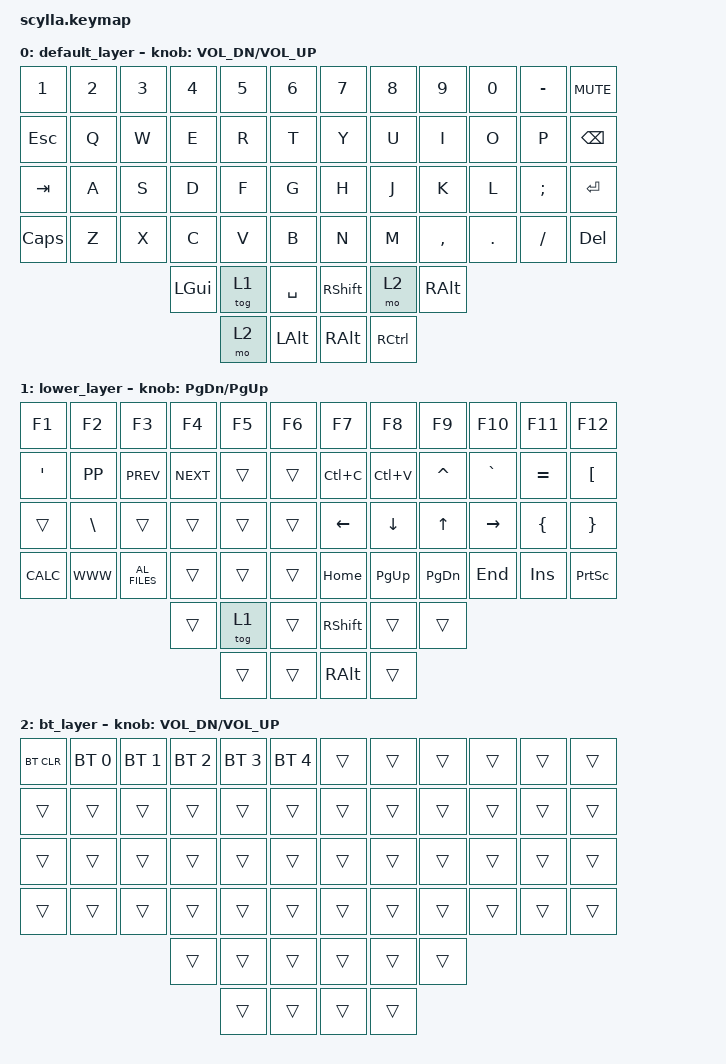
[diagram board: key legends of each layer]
/*
 * Copyright (c) 2020 The ZMK Contributors
 * SPDX-License-Identifier: MIT
 *
 * Scylla MK2 — keymap (58 teclas) — ABNT2
 *
 * Ordem dos bindings segue o matrix_transform exatamente:
 *   Linhas 0–3: 12 teclas cada  → 48 bindings
 *   Linha 4 thumb: 3 esq + 3 dir → 6 bindings   (RC 4,3..4,5 | 4,6..4,8)
 *   Linha 5 thumb: 2 esq + 2 dir → 4 bindings   (RC 5,4..5,5 | 5,6..5,7)
 *   Total: 58 bindings por layer
 *
 * Layout físico — default:
 * ╭─────┬─────┬─────┬─────┬─────┬─────╮   ╭─────┬─────┬─────┬─────┬─────┬─────╮
 * │ 1!¹ │ 2@² │ 3#³ │ 4$£ │ 5%¢ │ 6¨¬ │   │ 7&{ │ 8*[ │ 9(] │ 0)} │ -_\ │MUTE │  ← linha 0
 * ├─────┼─────┼─────┼─────┼─────┼─────┤   ├─────┼─────┼─────┼─────┼─────┼─────┤
 * │ ESC │  Q/ │  W? │  E° │  R® │  Tŧ │   │  Y← │  U↓ │  I→ │  Oø │  Pþ │BKSP │  ← linha 1
 * ├─────┼─────┼─────┼─────┼─────┼─────┤   ├─────┼─────┼─────┼─────┼─────┼─────┤
 * │ TAB │  Aæ │  Sß │  Dð │  Fđ │  Gŋ │   │  Hħ │  J̉̉ˀ │  K  │  Lł │  Ç´ │ ENT │  ← linha 2
 * ├─────┼─────┼─────┼─────┼─────┼─────┤   ├─────┼─────┼─────┼─────┼─────┼─────┤
 * │CAPS │  Z« │  X» │  C© │  V„ │  B“ │   │  N” │  Mµ │  <× │  >÷ │  :; │ DEL │  ← linha 3
 * ╰─────┴─────┴─────┼─────┼─────┼─────┤   ├─────┼─────┼─────┼─────┴─────┴─────╯
 *                   │ GUI │ LWR │ SPC │   │SHFT │ RSE │ ALT │                    ← linha 4
 *                   ╰─────┼─────┼─────╯   ╰─────┼─────╯─────╯
 *                         │ mo3 │ ALT │   │RALT │RCTL │                          ← linha 5
 *                         ╰─────┴─────╯   ╰─────┴─────╯
 *
 * Layout físico — lower (mo 1):
 * ╭─────┬─────┬─────┬─────┬─────┬─────╮   ╭─────┬─────┬─────┬─────┬─────┬─────╮
 * │     │     │     │     │     │     │   │     │     │     │     │ +=  │     │  ← linha 0
 * ├─────┼─────┼─────┼─────┼─────┼─────┤   ├─────┼─────┼─────┼─────┼─────┼─────┤
 * │     │     │     │     │     │     │   │     │     │     │     │ ~^  │  ´` │  ← linha 1
 * ├─────┼─────┼─────┼─────┼─────┼─────┤   ├─────┼─────┼─────┼─────┼─────┼─────┤
 * │     │  \  │     │     │     │     │   │     │     │     │     │     │     │  ← linha 2
 * ├─────┼─────┼─────┼─────┼─────┼─────┤   ├─────┼─────┼─────┼─────┼─────┼─────┤
 * │     │  §  |     │     │     │     │   │     │     │     │     │     │     │  ← linha 3
 * ╰─────┴─────┴─────┼─────┼─────┼─────┤   ├─────┼─────┼─────┼─────┴─────┴─────╯
 *                   │     │     │     │   │     │     │     │                    ← linha 4
 *                   ╰─────┼─────┼─────╯   ╰─────┼─────╯─────╯
 *                         │     │     │   │     │     │                          ← linha 5
 *                         ╰─────┴─────╯   ╰─────┴─────╯
 *
 * Referência ABNT2:
 *   Ç              → &kp SEMI
 *   < >            → &kp LS(COMMA)  /  &kp LS(DOT)
 *   :              → &kp LS(SEMI)
 *   { }            → &kp RA(SQT)    /  &kp RA(NUHS)
 *   [ ]            → &kp RA(LBKT)   /  &kp RA(RBKT)
 *   ~ (dead)       → &kp RBKT       (shift = ^ circunflexo)
 *   ´ (dead)       → &kp LBKT       (shift = ` grave)
 *   \              → &kp RA(MINUS)
 *   |              → &kp RA(EQUAL)
 *   '              → &kp SQT
 *   "              → &kp LS(SQT)
 */

#include <behaviors.dtsi>
#include <dt-bindings/zmk/keys.h>
#include <dt-bindings/zmk/bt.h>

/ {
    keymap {
        compatible = "zmk,keymap";

        default_layer {
            bindings = <
/* linha 0 */ &kp N1    &kp N2  &kp N3  &kp N4    &kp N5  &kp N6     &kp N7    &kp N8  &kp N9    &kp N0   &kp MINUS  &kp C_MUTE
/* linha 1 */ &kp ESC   &kp Q   &kp W   &kp E     &kp R   &kp T      &kp Y     &kp U   &kp I     &kp O    &kp P      &kp BSPC
/* linha 2 */ &kp TAB   &kp A   &kp S   &kp D     &kp F   &kp G      &kp H     &kp J   &kp K     &kp L    &kp SEMI   &kp RET
/* linha 3 */ &kp CAPS  &kp Z   &kp X   &kp C     &kp V   &kp B      &kp N     &kp M   &kp COMMA &kp DOT  &kp FSLH   &kp DEL
/* linha 4 */                           &kp LGUI  &tog 1  &kp SPACE  &kp RSHFT &mo 2   &kp RALT
/* linha 5 */                                     &mo 2   &kp LALT   &kp RALT  &kp RCTRL
            >;
            sensor-bindings = <&inc_dec_kp C_VOL_DN C_VOL_UP>;
        };

        lower_layer {
            bindings = <
/* linha 0 */ &kp F1      &kp F2     &kp F3          &kp F4      &kp F5  &kp F6    &kp F7     &kp F8     &kp F9     &kp F10    &kp F11    &kp F12
/* linha 1 */ &kp APOS    &kp K_PP   &kp C_PREV      &kp K_NEXT  &trans  &trans    &kp LC(C)  &kp LC(V)  &kp CARET  &kp GRAVE  &kp EQUAL  &kp LBKT
/* linha 2 */ &trans      &kp BSLH   &trans          &trans      &trans  &trans    &kp LEFT   &kp DOWN   &kp UP     &kp RIGHT  &kp LBRC   &kp RBRC
/* linha 3 */ &kp K_CALC  &kp K_WWW  &kp C_AL_FILES  &trans      &trans  &trans    &kp HOME   &kp PG_UP  &kp PG_DN  &kp END    &kp INS    &kp PSCRN
/* linha 4 */                                        &trans      &tog 1  &trans    &kp RSHFT  &trans     &trans
/* linha 5 */                                                    &trans  &trans    &kp RALT   &trans
            >;
            sensor-bindings = <&inc_dec_kp PG_DN PG_UP>;
        };

        bt_layer {
            bindings = <
/* linha 0 */ &bt BT_CLR  &bt BT_SEL 0 &bt BT_SEL 1 &bt BT_SEL 2 &bt BT_SEL 3 &bt BT_SEL 4  &trans  &trans  &trans  &trans  &trans  &trans
/* linha 1 */ &trans      &trans       &trans       &trans       &trans       &trans          &trans  &trans  &trans  &trans  &trans  &trans
/* linha 2 */ &trans      &trans       &trans       &trans       &trans       &trans          &trans  &trans  &trans  &trans  &trans  &trans
/* linha 3 */ &trans      &trans       &trans       &trans       &trans       &trans          &trans  &trans  &trans  &trans  &trans  &trans
/* linha 4 */                                       &trans       &trans       &trans          &trans  &trans  &trans
/* linha 5 */                                                    &trans       &trans          &trans  &trans
            >;
            sensor-bindings = <&inc_dec_kp C_VOL_DN C_VOL_UP>;
        };
    };
};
